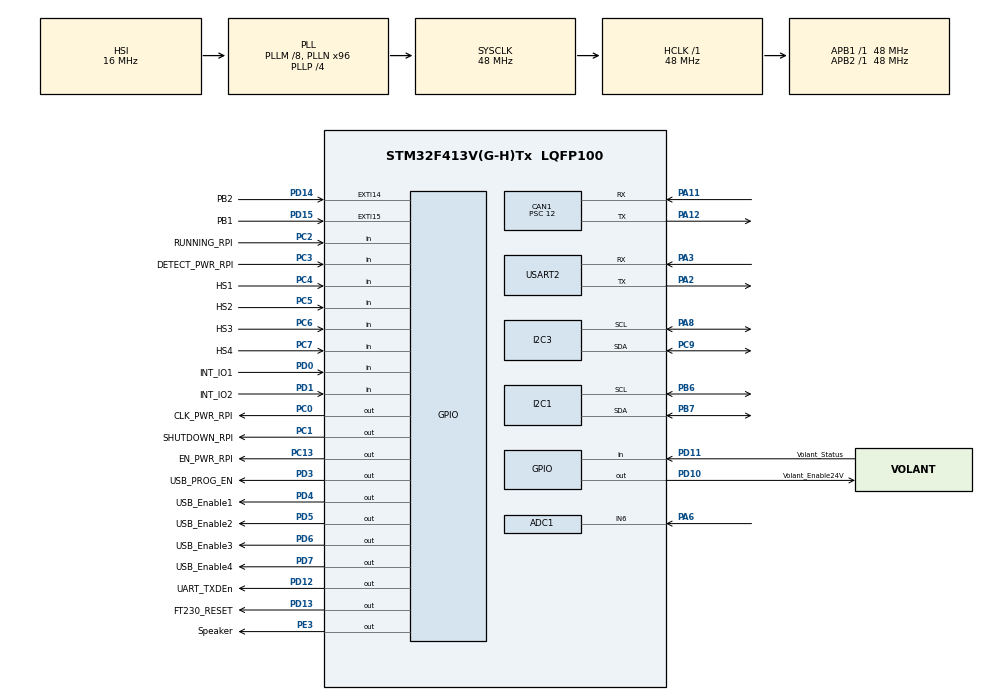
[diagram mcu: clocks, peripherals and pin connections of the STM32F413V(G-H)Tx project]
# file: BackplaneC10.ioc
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ADC1.Channel-0\#ChannelRegularConversion=ADC_CHANNEL_6
ADC1.NbrOfConversionFlag=1
ADC1.Rank-0\#ChannelRegularConversion=1
ADC1.SamplingTime-0\#ChannelRegularConversion=ADC_SAMPLETIME_3CYCLES
ADC1.master=1
CAN1.ABOM=ENABLE
CAN1.BS1=CAN_BS1_11TQ
CAN1.BS2=CAN_BS2_4TQ
CAN1.CalculateBaudRate=250000
CAN1.CalculateTimeBit=4000
CAN1.CalculateTimeQuantum=250.0
CAN1.Prescaler=12
CAN1.SJW=CAN_SJW_3TQ
Mcu.Family=STM32F4
Mcu.Name=STM32F413V(G-H)Tx
Mcu.Package=LQFP100
NVIC.ADC_IRQn=true\:0\:0\:false\:false\:true\:true\:true
NVIC.CAN1_RX0_IRQn=true\:0\:0\:false\:false\:true\:true\:true
NVIC.EXTI15_10_IRQn=true\:0\:0\:false\:false\:true\:true\:true
NVIC.PriorityGroup=NVIC_PRIORITYGROUP_4
NVIC.TIM3_IRQn=true\:0\:0\:false\:false\:true\:true\:true
NVIC.TIM4_IRQn=true\:0\:0\:false\:false\:true\:true\:true
NVIC.TIM5_IRQn=true\:0\:0\:false\:false\:true\:true\:true
PA0.Signal=USART2_CTS
PA1.Signal=USART2_RTS
PA11.Mode=CAN_Activate
PA11.Signal=CAN1_RX
PA12.Mode=CAN_Activate
PA12.Signal=CAN1_TX
PA2.Mode=Asynchronous
PA2.Signal=USART2_TX
PA3.Mode=Asynchronous
PA3.Signal=USART2_RX
PA6.Signal=ADCx_IN6
PA8.GPIO_Pu=GPIO_PULLUP
PA8.Mode=I2C
PA8.Signal=I2C3_SCL
PB3.Signal=SYS_JTDO-SWO
PB6.GPIO_Pu=GPIO_PULLUP
PB6.Mode=I2C
PB6.Signal=I2C1_SCL
PB7.GPIO_Pu=GPIO_PULLUP
PB7.Mode=I2C
PB7.Signal=I2C1_SDA
PC0.GPIO_Label=CLK_PWR_RPI
PC0.Signal=GPIO_Output
PC1.GPIO_Label=SHUTDOWN_RPI
PC1.Signal=GPIO_Output
PC13.GPIO_Label=EN_PWR_RPI
PC13.Signal=GPIO_Output
PC2.GPIO_Label=RUNNING_RPI
PC2.Signal=GPIO_Input
PC3.GPIO_Label=DETECT_PWR_RPI
PC3.Signal=GPIO_Input
PC4.GPIO_Label=HS1
PC4.Signal=GPIO_Input
PC5.GPIO_Label=HS2
PC5.Signal=GPIO_Input
PC6.GPIO_Label=HS3
PC6.Signal=GPIO_Input
PC7.GPIO_Label=HS4
PC7.Signal=GPIO_Input
PC9.GPIO_Pu=GPIO_PULLUP
PC9.Mode=I2C
PC9.Signal=I2C3_SDA
PD0.GPIO_Label=INT_IO1
PD0.Signal=GPIO_Input
PD1.GPIO_Label=INT_IO2
PD1.Signal=GPIO_Input
PD10.GPIO_Label=Volant_Enable24V
PD10.Signal=GPIO_Output
PD11.GPIO_Label=Volant_Status
PD11.Signal=GPIO_Input
PD12.GPIO_Label=UART_TXDEn
PD12.Signal=GPIO_Output
PD13.GPIO_Label=FT230_RESET
PD13.Signal=GPIO_Output
PD14.GPIO_Label=PB2
PD14.GPIO_ModeDefaultEXTI=GPIO_MODE_IT_FALLING
PD14.Signal=GPXTI14
PD15.GPIO_Label=PB1
PD15.GPIO_ModeDefaultEXTI=GPIO_MODE_IT_FALLING
PD15.Signal=GPXTI15
PD3.GPIO_Label=USB_PROG_EN
PD3.Signal=GPIO_Output
PD4.GPIO_Label=USB_Enable1
PD4.Signal=GPIO_Output
PD5.GPIO_Label=USB_Enable2
PD5.Signal=GPIO_Output
PD6.GPIO_Label=USB_Enable3
PD6.Signal=GPIO_Output
PD7.GPIO_Label=USB_Enable4
PD7.Signal=GPIO_Output
PE3.GPIO_Label=Speaker
PE3.Signal=GPIO_Output
ProjectManager.HeapSize=0x200
ProjectManager.StackSize=0x400
ProjectManager.TargetToolchain=STM32CubeIDE
RCC.AHBFreq_Value=48000000
RCC.APB1Freq_Value=48000000
RCC.APB1TimFreq_Value=48000000
RCC.APB2Freq_Value=48000000
RCC.APB2TimFreq_Value=48000000
RCC.CortexFreq_Value=48000000
RCC.HCLKFreq_Value=48000000
RCC.PLLM=8
RCC.PLLN=96
RCC.PLLP=RCC_PLLP_DIV4
RCC.SYSCLKFreq_VALUE=48000000
RCC.SYSCLKSource=RCC_SYSCLKSOURCE_PLLCLK
RCC.USBFreq_Value=96000000
RCC.VCOOutputFreq_Value=192000000
SH.ADCx_IN6.0=ADC1_IN6,IN6
TIM1.AutoReloadPreload=TIM_AUTORELOAD_PRELOAD_ENABLE
TIM1.Prescaler=47
TIM3.Period=10000
TIM3.Prescaler=480
TIM4.Period=50000
TIM4.Prescaler=480
TIM5.Period=20000
TIM5.Prescaler=480
USART2.VirtualMode=VM_ASYNC
VP_TIM1_VS_ClockSourceINT.Mode=Internal
VP_TIM3_VS_ClockSourceINT.Mode=Internal
VP_TIM4_VS_ClockSourceINT.Mode=Internal
VP_TIM5_VS_ClockSourceINT.Mode=Internal
board=custom

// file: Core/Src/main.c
/* USER CODE BEGIN Header */
/**
  ******************************************************************************
  * @file           : main.c
  * @brief          : Main program body
  ******************************************************************************
  * @attention
  *
  * <h2><center>&copy; Copyright (c) 2021 STMicroelectronics.
  * All rights reserved.</center></h2>
  *
  * This software component is licensed by ST under BSD 3-Clause license,
  * the "License"; You may not use this file except in compliance with the
  * License. You may obtain a copy of the License at:
  *                        opensource.org/licenses/BSD-3-Clause
  *
  ******************************************************************************
  */
/* USER CODE END Header */
#include "main.h"

/* USER CODE BEGIN Includes */

#include <string.h>
#include <stdlib.h>
#include <stdio.h>

#include "chinook_can_ids.h"

/* USER CODE END Includes */

/* USER CODE BEGIN PD */
// I2C GPIO addresses
#define GPIO0_ADDR 0x42
#define GPIO1_ADDR 0x40

#define GPIO_GP0 0x00
#define GPIO_GP1 0x01
#define GPIO_OLAT_GP0 0x02
#define GPIO_OLAT_GP1 0x03
#define GPIO_POL_GP0 0x04
#define GPIO_POL_GP1 0x05
#define GPIO_DIR_GP0 0x06
#define GPIO_DIR_GP1 0x07
#define GPIO_INT_GP0 0x08
#define GPIO_INT_GP1 0x09

#define GPIO_NORMAL 0x00
#define GPIO_INVERTED 0x01

#define GPIO_OUTPUT 0x00
#define GPIO_INPUT 0x01

// INA226
#define INA226_BATT_ADDR 0x96
#define INA226_VOLANT_ADDR 0x90
#define INA226_C9_ADDR 0x80
// TODO: Changer pour valeurs soudees
#define INA226_C10_1_ADDR 0x82
#define INA226_C10_2_ADDR 0x84
#define INA226_C10_3_ADDR 0x86

#define INA226_CONFIG_REG 0x00
#define INA226_SHUNT_VOLTAGE_REG 0x01
#define INA226_BUS_VOLTAGE_REG 0x02
#define INA226_POWER_REG 0x03
#define INA226_CURRENT_REG 0x04
#define INA226_CALIB_REG 0x05

// Board defines
#define BOARD_C10_1 3
#define BOARD_C10_2 2
#define BOARD_C10_3 1
#define BOARD_C9	0

// Voltage defines
#define VOLTAGE_3V3 3
#define VOLTAGE_5V  2
#define VOLTAGE_24V 0

// INA indices
#define VOLANT_INA 5
#define BATT_INA 4
#define BOARD_C10_1_INA BOARD_C10_1
#define BOARD_C10_2_INA BOARD_C10_2
#define BOARD_C10_3_INA BOARD_C10_3
#define BOARD_C9_INA BOARD_C9

// INA226 constants
#define INA226_RSHUNT 0.002f        // 2m ohm
#define INA226_CURRENT_LSB 0.001f  // 1mA/bit
#define INA226_SHUNT_VOLTAGE_LSB 0.0000025f // 2.5 uV
#define INA226_BUS_VOLTAGE_LSB 0.00125f     // 1.25 mV
const float INA226_POWER_LSB = 25.0f * INA226_CURRENT_LSB;

#define NUM_INA226 6
static uint32_t INA226_ADDRs[6] = { INA226_C9_ADDR, INA226_C10_3_ADDR, INA226_C10_2_ADDR, INA226_C10_1_ADDR, INA226_BATT_ADDR, INA226_VOLANT_ADDR };

// LED defines
enum LEDS
{
	LED_ERROR = 0,	// D7
	LED_WARN,		// D8
	LED_CAN,		// D9
	LED4,			// D10
	LED3,			// D11
	LED2,			// D12
	LED1,			// D13

	NUM_LEDS
};

// State machine enum
enum STATES
{
	STATE_INIT = 0,
	STATE_ACQUISITION,
	STATE_BOARD_CONTROL,
	STATE_CAN,

	STATE_ERROR = 0xFF
};

/* USER CODE END PD */

ADC_HandleTypeDef hadc1;

CAN_HandleTypeDef hcan1;

I2C_HandleTypeDef hi2c1;
I2C_HandleTypeDef hi2c3;

TIM_HandleTypeDef htim1;
TIM_HandleTypeDef htim3;
TIM_HandleTypeDef htim4;
TIM_HandleTypeDef htim5;

UART_HandleTypeDef huart2;

/* USER CODE BEGIN PV */

uint8_t timer_flag;
uint8_t b_acquisition_gpios_flag;
uint8_t b_flag_can_tx;

uint8_t pb1_pressed;
uint8_t pb2_pressed;

uint8_t can1_recv_flag;

CAN_TxHeaderTypeDef pTxHeader;
CAN_RxHeaderTypeDef pRxHeader;

uint8_t txData[8];
uint8_t rxData[8];

uint32_t txMailbox;

// I2C GPIO registers
uint8_t gpio0_gp0, gpio0_gp1; // LEDs + Pre-Prog + 24V status
uint8_t gpio1_gp0, gpio1_gp1; // Voltage enables
uint8_t gpio0_dir0, gpio0_dir1, gpio1_dir0, gpio1_dir1;
uint8_t gpio0_pol0, gpio0_pol1, gpio1_pol0, gpio1_pol1;

// I2C INA226 registers
uint16_t ina226_config = 0b0100000100100111;

// Current state machine state
uint32_t current_state = STATE_INIT;

uint8_t led1_value = 0;
uint8_t led2_value = 0;

// Board control values
uint8_t board_hs[4] = { 0, 0, 0, 0 }; // Connected board slots
float board_voltages[4] = { 0.0f, 0.0f, 0.0f, 0.0f };  // C9, C10_3, C10_2, C10_1
float board_currents[4] = { 0.0f, 0.0f, 0.0f, 0.0f };  // C9, C10_3, C10_2, C10_1
float board_powers[4] = { 0.0f, 0.0f, 0.0f, 0.0f };    // C9, C10_3, C10_2, C10_1
float batt_voltage = 0.0f;
float batt_current = 0.0f;
float batt_power = 0.0f;
float volant_voltage = 0.0f;
float volant_current = 0.0f;
float volant_power = 0.0f;

uint8_t volant_status = 1;  // 1 = no error,  0 = error

// Feedback values of GPIOs
uint8_t feedback_gpio0_gp0;
uint8_t feedback_gpio0_gp1;
uint8_t feedback_gpio1_gp0;
uint8_t feedback_gpio1_gp1;
uint8_t feedback_status_24V;

uint8_t can_error = 0;

uint8_t b_timer500ms_flag;
uint8_t b_timer100ms_flag;
uint8_t b_timer200ms_flag;

// TEMP TEMP
uint8_t pb1_update;
uint8_t pb2_update;
uint8_t pb1_value;
uint8_t pb2_value;

/* USER CODE END PV */

void SystemClock_Config(void);
static void MX_GPIO_Init(void);
static void MX_I2C1_Init(void);
static void MX_I2C3_Init(void);
static void MX_TIM3_Init(void);
static void MX_ADC1_Init(void);
static void MX_USART2_UART_Init(void);
static void MX_CAN1_Init(void);
static void MX_TIM4_Init(void);
static void MX_TIM1_Init(void);
static void MX_TIM5_Init(void);
/* USER CODE BEGIN PFP */

// State machine control
void ExecuteStateMachine();

uint32_t DoStateInit();
uint32_t DoStateBoardControl();
uint32_t DoStateAcquisition();
uint32_t DoStateCan();

void DoStateError();

HAL_StatusTypeDef GPIO_SendI2C(uint8_t addr, uint8_t reg, uint8_t data);
uint8_t GPIO_ReadI2C(uint8_t addr, uint8_t reg);

HAL_StatusTypeDef INA_SendI2C(uint8_t addr, uint8_t reg, uint16_t data);
uint16_t INA_ReadI2C(uint8_t addr, uint8_t reg);

// GPIOs

void EnableAllVoltages();

void InitGPIOs();

void DisableAllVoltages();
void EnableVoltage(uint8_t board, uint8_t voltage);
void DisableVoltage(uint8_t board, uint8_t voltage);

void EnableAllBoardVoltages(uint8_t board);
void DisableAllBoardVoltages(uint8_t board);

void EnableVolant24V();
void DisableVolant24V();

void SetLed(uint8_t led, uint8_t value);
void ToggleLed(uint8_t led);

void BeepSpeaker();

HAL_StatusTypeDef SendUART(uint8_t* buffer, size_t size);
void EnableFT230Tx();
void DisableFT230Tx();
void ResetFT230();

void InitAllINA226s();

float ReadShuntVoltageINA226(uint8_t ina226_id);
float ReadBusVoltageINA226(uint8_t ina226_id);
float ReadCurrentINA226(uint8_t ina226_id);
float ReadPowerINA226(uint8_t ina226_id);

// CAN

HAL_StatusTypeDef TransmitCAN(uint32_t id, uint8_t* buf, uint8_t size);

/* USER CODE END PFP */

/* USER CODE BEGIN 0 */

void delay_us(uint16_t delay16_us)
{
	htim1.Instance->CNT = 0;
	while (htim1.Instance->CNT < delay16_us);
}

void delay_ms(uint16_t delay16_ms)
{
	while(delay16_ms > 0)
	{
		htim1.Instance->CNT = 0;
		delay16_ms--;
		while (htim1.Instance->CNT < 1000);
	}
}

HAL_StatusTypeDef GPIO_SendI2C(uint8_t addr, uint8_t reg, uint8_t data)
{
  uint8_t buf[2];

  buf[0] = reg;
  buf[1] = data;

  return HAL_I2C_Master_Transmit(&hi2c1, addr, buf, sizeof(buf), HAL_MAX_DELAY);
}

uint8_t GPIO_ReadI2C(uint8_t addr, uint8_t reg)
{
	HAL_StatusTypeDef ret;

	uint8_t cmd[1];
	cmd[0] = reg;

	ret = HAL_I2C_Master_Transmit(&hi2c1, addr, cmd, sizeof(cmd), HAL_MAX_DELAY);
	if (ret != HAL_OK)
	{
		// TODO
	}

	uint8_t buf[1];
	ret = HAL_I2C_Master_Receive(&hi2c1, addr, buf, 1, HAL_MAX_DELAY);
	if (ret != HAL_OK)
	{
		// TODO
	}

	return buf[0];
}

HAL_StatusTypeDef INA_SendI2C(uint8_t addr, uint8_t reg, uint16_t data)
{
	uint8_t buf[3];

	buf[0] = reg;
	buf[1] = (data >> 8) & 0xFF;
	buf[2] = data & 0xFF;

	return HAL_I2C_Master_Transmit(&hi2c3, addr, buf, sizeof(buf), HAL_MAX_DELAY);
}

uint16_t INA_ReadI2C(uint8_t addr, uint8_t reg)
{
	HAL_StatusTypeDef ret;

	uint8_t cmd[1];
	cmd[0] = reg;

	ret = HAL_I2C_Master_Transmit(&hi2c3, addr, cmd, sizeof(cmd), HAL_MAX_DELAY);
	if (ret != HAL_OK)
	{
		// TODO
	}

	// Reading 16bits for INA
	uint8_t buf[2];
	ret = HAL_I2C_Master_Receive(&hi2c3, addr, buf, sizeof(buf), HAL_MAX_DELAY);
	if (ret != HAL_OK)
	{
		// TODO
	}

	// return buf[0];
	uint16_t result = (buf[0] << 8) | buf[1];
	return result;
}

void InitGPIOs()
{
  //
  // Default values for GPIO registers
  //

  // GPIO directions
  gpio0_dir0 = 0;
  gpio0_dir1 = 0b11110000;
  gpio1_dir0 = 0;
  gpio1_dir1 = 0;

  // GPIO *input* polarity
  gpio0_pol0 = 0;
  gpio0_pol1 = 0;
  gpio1_pol0 = 0;
  gpio1_pol1 = 0;

  // GPIO reset to 0
  gpio0_gp0 = gpio0_gp1 = 0;
  // Enable 3V3 and 5V have inverted enable logic (1 = disable for 5V and 3V3)
  gpio1_gp0 = gpio1_gp1 = 0b11001100;

  //
  // Send values to GPIO
  //

  //HAL_StatusTypeDef ret;
  //uint8_t buf[12];

  uint8_t error = 0;
  error |= GPIO_SendI2C(GPIO0_ADDR, GPIO_DIR_GP0, gpio0_dir0);
  delay_us(5);
  error |= GPIO_SendI2C(GPIO0_ADDR, GPIO_DIR_GP1, gpio0_dir1);
  delay_us(5);
  error |= GPIO_SendI2C(GPIO1_ADDR, GPIO_DIR_GP0, gpio1_dir0);
  delay_us(5);
  error |= GPIO_SendI2C(GPIO1_ADDR, GPIO_DIR_GP1, gpio1_dir1);
  delay_us(5);

  error |= GPIO_SendI2C(GPIO0_ADDR, GPIO_POL_GP0, gpio0_pol0);
  delay_us(5);
  error |= GPIO_SendI2C(GPIO0_ADDR, GPIO_POL_GP1, gpio0_pol1);
  delay_us(5);
  error |= GPIO_SendI2C(GPIO1_ADDR, GPIO_POL_GP0, gpio1_pol0);
  delay_us(5);
  error |= GPIO_SendI2C(GPIO1_ADDR, GPIO_POL_GP1, gpio1_pol1);
  delay_us(5);

  error |= GPIO_SendI2C(GPIO0_ADDR, GPIO_GP0, gpio0_gp0);
  delay_us(5);
  error |= GPIO_SendI2C(GPIO0_ADDR, GPIO_GP1, gpio0_gp1);
  delay_us(5);
  error |= GPIO_SendI2C(GPIO1_ADDR, GPIO_GP0, gpio1_gp0);
  delay_us(5);
  error |= GPIO_SendI2C(GPIO1_ADDR, GPIO_GP1, gpio1_gp1);
  delay_us(5);

  if (error)
  {
	  // TODO
  }

}

void DisableAllVoltages()
{
	gpio1_gp0 = 0b11001100;
	gpio1_gp1 = 0b11001100;
	GPIO_SendI2C(GPIO1_ADDR, GPIO_GP0, gpio1_gp0);
	delay_ms(10);
	GPIO_SendI2C(GPIO1_ADDR, GPIO_GP1, gpio1_gp1);
	delay_ms(10);

	// Disable Volant 24V
	DisableVolant24V();
	delay_ms(10);
}

// board = 1,2,3,4
//  0,1,2 = Board C10 1,2,3
//  3     = Board C9
void EnableVoltage(uint8_t board, uint8_t voltage)
{
	// Special case for board C9 - 24V,15V
	if (board == BOARD_C9 && voltage == VOLTAGE_24V)
	{
		gpio1_gp0 |= (1 << 1);
		GPIO_SendI2C(GPIO1_ADDR, GPIO_GP0, gpio1_gp0);
		return;
	}

	unsigned value = board * 4 + voltage;
	unsigned gp = value / (unsigned)8;
	if (gp)
	{
		// Inverted logic for 5V and 3V3
		if (voltage == VOLTAGE_5V || voltage == VOLTAGE_3V3)
			gpio1_gp1 &= ~(1 << (value - 8));
		else
			gpio1_gp1 |= (1 << (value - 8));
		GPIO_SendI2C(GPIO1_ADDR, GPIO_GP1, gpio1_gp1);
	}
	else
	{
		// Inverted logic for 5V and 3V3
		if (voltage == VOLTAGE_5V || voltage == VOLTAGE_3V3)
			gpio1_gp0 &= ~(1 << value);
		else
			gpio1_gp0 |= (1 << value);
		GPIO_SendI2C(GPIO1_ADDR, GPIO_GP0, gpio1_gp0);
	}
}

void DisableVoltage(uint8_t board, uint8_t voltage)
{
	// Special case for board C9 - 24V,15V
	if (board == BOARD_C9 && voltage == VOLTAGE_24V)
	{
		gpio1_gp0 &= ~(1 << 1);
		GPIO_SendI2C(GPIO1_ADDR, GPIO_GP0, gpio1_gp0);
		return;
	}

	unsigned value = board * 4 + voltage;
	unsigned gp = value / (unsigned)8;
	if (gp)
	{
		// Inverted logic for 5V and 3V3
		if (voltage == VOLTAGE_5V || voltage == VOLTAGE_3V3)
			gpio1_gp1 |= (1 << (value - 8));
		else
			gpio1_gp1 &= ~(1 << (value - 8));
		GPIO_SendI2C(GPIO1_ADDR, GPIO_GP1, gpio1_gp1);
	}
	else
	{
		// Inverted logic for 5V and 3V3
		if (voltage == VOLTAGE_5V || voltage == VOLTAGE_3V3)
			gpio1_gp0 |= (1 << value);
		else
			gpio1_gp0 &= ~(1 << value);
		GPIO_SendI2C(GPIO1_ADDR, GPIO_GP0, gpio1_gp0);
	}
}

void EnableAllBoardVoltages(uint8_t board)
{
	EnableVoltage(board, VOLTAGE_3V3);
	EnableVoltage(board, VOLTAGE_5V);
	EnableVoltage(board, VOLTAGE_24V);
}

void DisableAllBoardVoltages(uint8_t board)
{
	DisableVoltage(board, VOLTAGE_3V3);
	DisableVoltage(board, VOLTAGE_5V);
	DisableVoltage(board, VOLTAGE_24V);
}

void EnableVolant24V()
{
	HAL_GPIO_WritePin(Volant_Enable24V_GPIO_Port, Volant_Enable24V_Pin, 1);
}

void DisableVolant24V()
{
	HAL_GPIO_WritePin(Volant_Enable24V_GPIO_Port, Volant_Enable24V_Pin, 0);
}

void SetLed(uint8_t led, uint8_t value)
{
	if (led >= NUM_LEDS)
		return;

	if (value)
		gpio0_gp0 |= (1 << led);
	else
		gpio0_gp0 &= ~(1 << led);

	GPIO_SendI2C(GPIO0_ADDR, GPIO_GP0, gpio0_gp0);
}

void ToggleLed(uint8_t led)
{
	if (led >= NUM_LEDS)
		return;

	uint8_t value = (gpio0_gp0 & (1 << led)) >> led;
	SetLed(led, !value);
}

// CAN Rx Callback
/*
void HAL_CAN_RxFifo0MsgPendingCallback(CAN_HandleTypeDef* hcan)
{
	if (HAL_CAN_GetRxMessage(hcan, CAN_RX_FIFO0, &pRxHeader, rxData) != HAL_OK)
	{
		Error_Handler();
	}

	if (pRxHeader.StdId == 0xAA)
	{

	}
	else if (pRxHeader.StdId == 0xBB)
	{

	}
	// etc etc ..
}
*/

HAL_StatusTypeDef TransmitCAN(uint32_t id, uint8_t* buf, uint8_t size)
{
	// CAN_TxHeaderTypeDef msg;

	pTxHeader.StdId = id;
	pTxHeader.IDE = CAN_ID_STD;
	pTxHeader.RTR = CAN_RTR_DATA;
	pTxHeader.DLC = size; // Number of bytes to send
	pTxHeader.TransmitGlobalTime = DISABLE;

	uint32_t mb;
	HAL_StatusTypeDef ret = HAL_CAN_AddTxMessage(&hcan1, &pTxHeader, buf, &mb);
	if (ret != HAL_OK)
	{
		// SetLed(LED_CAN, 1);
		SetLed(LED_ERROR, 1);
		return ret;
	}

	// Update the CAN led
	//ToggleLed(LED_CAN);
	// SetLed(LED_CAN, 0);

	return ret;

	return 0;
}

void BeepSpeaker()
{
	HAL_GPIO_WritePin(Speaker_GPIO_Port, Speaker_Pin, 1);
	HAL_Delay(50);
	HAL_GPIO_WritePin(Speaker_GPIO_Port, Speaker_Pin, 0);
}

HAL_StatusTypeDef SendUART(uint8_t* buffer, size_t size)
{
	return HAL_UART_Transmit(&huart2, buffer, size, HAL_MAX_DELAY);
}

void EnableFT230Tx()
{
	HAL_GPIO_WritePin(UART_TXDEn_GPIO_Port, UART_TXDEn_Pin, 1);
}
void DisableFT230Tx()
{
	HAL_GPIO_WritePin(UART_TXDEn_GPIO_Port, UART_TXDEn_Pin, 0);
}
void ResetFT230()
{
	HAL_GPIO_WritePin(FT230_RESET_GPIO_Port, FT230_RESET_Pin, 1);
	HAL_Delay(2);
	HAL_GPIO_WritePin(FT230_RESET_GPIO_Port, FT230_RESET_Pin, 0);
}

void InitAllINA226s()
{
	// Configuration register
	// AVG mode set to 4 averages (everything else is default)
	uint16_t config_reg_value = 0x4327;
	for (int i = 0; i < NUM_INA226; ++i)
	{
		INA_SendI2C(INA226_ADDRs[i], INA226_CONFIG_REG, config_reg_value);
	}

	// Calibration register
	typedef union
	{
		float cal_f;
		uint32_t cal_i;
	} CalPunning;
	CalPunning cal_punning;

	cal_punning.cal_f = 0.00052f / INA226_CURRENT_LSB * INA226_RSHUNT;
	uint16_t cal_reg_value = (uint16_t)(cal_punning.cal_i & 0x0000FFFF);

	for (int i = 0; i < NUM_INA226; ++i)
	{
		INA_SendI2C(INA226_ADDRs[i], INA226_CALIB_REG, cal_reg_value);
	}
}

float ReadShuntVoltageINA226(uint8_t ina226_id)
{
	uint16_t shunt_voltage = INA_ReadI2C(INA226_ADDRs[ina226_id], INA226_BUS_VOLTAGE_REG);
	return ((float)shunt_voltage) * INA226_SHUNT_VOLTAGE_LSB;
}

float ReadBusVoltageINA226(uint8_t ina226_id)
{
	uint16_t bus_voltage = INA_ReadI2C(INA226_ADDRs[ina226_id], INA226_BUS_VOLTAGE_REG);
	return ((float)bus_voltage) * INA226_BUS_VOLTAGE_LSB;
}

float ReadCurrentINA226(uint8_t ina226_id)
{
	uint16_t current = INA_ReadI2C(INA226_ADDRs[ina226_id], INA226_CURRENT_REG);
	return ((float)current) * INA226_CURRENT_LSB;
}

float ReadPowerINA226(uint8_t ina226_id)
{
	uint16_t power = INA_ReadI2C(INA226_ADDRs[ina226_id], INA226_POWER_REG);
	return ((float)power) * INA226_POWER_LSB;
}

void ExecuteStateMachine()
{
	// Blink LED to signify alive and working
	if (b_timer500ms_flag)
	{
		b_timer500ms_flag = 0;

		timer_flag = 1;
	}
	if (b_timer200ms_flag)
	{
		b_timer200ms_flag = 0;

		b_acquisition_gpios_flag = 1;
	}
	if (b_timer100ms_flag)
	{
		b_timer100ms_flag = 0;

		b_flag_can_tx = 1;
	}

	if (timer_flag)
	{
		timer_flag = 0;

		ToggleLed(LED1);
	}

	switch (current_state)
	{
	case STATE_INIT:
		current_state = DoStateInit();
		break;

	case STATE_ACQUISITION:
		current_state = DoStateAcquisition();
		break;

	case STATE_BOARD_CONTROL:
		current_state = DoStateBoardControl();
		break;

	case STATE_CAN:
		current_state = DoStateCan();
		break;

	case STATE_ERROR:
		DoStateError();
		// In case we escape the error handler, re-initialize
		current_state = DoStateInit();
		break;

	default:
		DoStateInit();
		break;
	};
}

uint32_t DoStateInit()
{
	// Init global variables
	timer_flag = 0;
	b_acquisition_gpios_flag = 0;
	b_flag_can_tx = 0;

	pb1_pressed = 0;
	pb2_pressed = 0;

	can1_recv_flag = 0;

	volant_status = 1;
	can_error = 0;

	b_timer500ms_flag = 0;
	b_timer100ms_flag = 0;
	b_timer200ms_flag = 0;

	// Initialize GPIO values
	InitGPIOs();
	HAL_Delay(10);

	// DisableAllVoltages();
	HAL_Delay(10);

	InitAllINA226s();

	delay_ms(10);
	EnableAllVoltages();
	delay_ms(10);

	// Start by verifying values of GPIOs
	delay_ms(5);
	b_acquisition_gpios_flag = 1;

	return STATE_ACQUISITION;
}

uint32_t DoStateAcquisition()
{
	// Read HS signals and enable voltages according to slots used
	board_hs[3] = HAL_GPIO_ReadPin(HS1_GPIO_Port, HS1_Pin);  // Board C10_1
	board_hs[2] = HAL_GPIO_ReadPin(HS2_GPIO_Port, HS2_Pin);  // Board C10_2
	board_hs[1] = HAL_GPIO_ReadPin(HS3_GPIO_Port, HS3_Pin);  // Board C10_3
	board_hs[0] = HAL_GPIO_ReadPin(HS4_GPIO_Port, HS4_Pin);  // Board C9

	// Read INA226 voltage and current values
	for (int i = 0; i < 4; ++i)
	{
		board_voltages[i] = ReadBusVoltageINA226(i);
		board_currents[i] = ReadCurrentINA226(i);
		board_powers[i] = ReadPowerINA226(i);
	}

	batt_voltage = ReadBusVoltageINA226(BATT_INA);
	batt_current = ReadCurrentINA226(BATT_INA);
	batt_power = ReadPowerINA226(BATT_INA);

	volant_voltage = ReadBusVoltageINA226(VOLANT_INA);
	volant_current = ReadCurrentINA226(VOLANT_INA);
	volant_power = ReadPowerINA226(VOLANT_INA);

	volant_status = HAL_GPIO_ReadPin(Volant_Status_GPIO_Port, Volant_Status_Pin);

	// Verify values of GPIO expanders
	if (b_acquisition_gpios_flag) // Executed every 200ms
	{
		b_acquisition_gpios_flag = 0;

		/*
		feedback_gpio0_gp0 = GPIO_ReadI2C(GPIO0_ADDR, GPIO_GP0);
		delay_us(10);
		feedback_gpio0_gp1 = GPIO_ReadI2C(GPIO0_ADDR, GPIO_GP1);
		delay_us(10);
		feedback_gpio1_gp0 = GPIO_ReadI2C(GPIO1_ADDR, GPIO_GP0);
		delay_us(10);
		feedback_gpio1_gp1 = GPIO_ReadI2C(GPIO1_ADDR, GPIO_GP1);
		delay_us(10);

		if (feedback_gpio0_gp0 != gpio0_gp0)
		{
			GPIO_SendI2C(GPIO0_ADDR, GPIO_GP0, gpio0_gp0);
			delay_us(10);
		}

		if (feedback_gpio1_gp0 != gpio1_gp0)
		{
			GPIO_SendI2C(GPIO1_ADDR, GPIO_GP0, gpio1_gp0);
			delay_us(10);
		}
		if (feedback_gpio1_gp1 != gpio1_gp1)
		{
			GPIO_SendI2C(GPIO1_ADDR, GPIO_GP1, gpio1_gp1);
			delay_us(10);
		}

		// Verify 24V status
		feedback_status_24V = (feedback_gpio0_gp1 & 0xF0) >> 4;
		*/

		/*
		// Status at low = error on 24V
		if ((feedback_status_24V & 0x1) == 0)
		{
			DisableVoltage(BOARD_C9, VOLTAGE_24V);
			delay_us(10);
			EnableVoltage(BOARD_C9, VOLTAGE_24V);
		}
		if ((feedback_status_24V & 0x2) == 0)
		{
			DisableVoltage(BOARD_C10_3, VOLTAGE_24V);
			delay_us(10);
			EnableVoltage(BOARD_C10_3, VOLTAGE_24V);
		}
		if ((feedback_status_24V & 0x4) == 0)
		{
			DisableVoltage(BOARD_C10_2, VOLTAGE_24V);
			delay_us(10);
			EnableVoltage(BOARD_C10_2, VOLTAGE_24V);
		}
		if ((feedback_status_24V & 0x8) == 0)
		{
			DisableVoltage(BOARD_C10_1, VOLTAGE_24V);
			delay_us(10);
			EnableVoltage(BOARD_C10_1, VOLTAGE_24V);
		}
		*/

	}

	return STATE_BOARD_CONTROL;
}

uint32_t DoStateBoardControl()
{
	// Enable or disable voltages based on HS board slots values
	/*
	if (board_hs[0])
	{
		EnableVoltage(BOARD_C9, VOLTAGE_3V3);
		EnableVoltage(BOARD_C9, VOLTAGE_5V);
		EnableVoltage(BOARD_C9, VOLTAGE_24V);
	}
	*/

	// TODO: (Marc) Don't resend every time, check if value has changed
	// EnableVoltage(BOARD_C10_2, VOLTAGE_3V3);
	// EnableVoltage(BOARD_C10_2, VOLTAGE_5V);
	// EnableVoltage(BOARD_C10_2, VOLTAGE_24V);

	// Check that the values of GPIO expanders match expected values

	return STATE_CAN;
}

uint32_t DoStateCan()
{
	if (b_flag_can_tx)
	{
		b_flag_can_tx = 0;

		/* BLOC FACTICE
		static uint32_t dummy_data_mario = 0;
		++dummy_data_mario;
		TransmitCAN(BACKPLANE_DUMMY_TRAFFIC_MARIO, (uint8_t*)&dummy_data_mario, 4);
		delay_us(10);

		static uint32_t dummy_data_drive = 10;
		++dummy_data_drive;
		TransmitCAN(BACKPLANE_DUMMY_TRAFFIC_DRIVE, (uint8_t*)&dummy_data_drive, 4);
		delay_us(10);
		*/

		/*
		// Calculs + l'envoi vers le volant du pourcentage de la batterie
		float batt_percent = (batt_voltage - 10.5f) / (12.6f - 10.5f) * 100;
		if(batt_percent > 100.0f) {
			batt_percent = 100.0f;
		}

		if(batt_percent < 0.0f){
			batt_percent = 0.0f;
		}

		TransmitCAN(CAN_ID_BACKPLANE_BATT_PERCENT, (uint8_t*)&batt_percent, 4);
		delay_us(10);
		*/

		// Send all sensor values
		// HAL_StatusTypeDef can_success = HAL_OK;

		/*
		can_success &= TransmitCAN(BACKPLANE_TOTAL_VOLTAGE, (uint8_t*)(&batt_voltage), 4);
		can_success &= TransmitCAN(BACKPLANE_TOTAL_CURRENT, (uint8_t*)(&batt_current), 4);

		can_success &= TransmitCAN(BACKPLANE_VOLANT_VOLTAGE, (uint8_t*)(&volant_voltage), 4);
		can_success &= TransmitCAN(BACKPLANE_VOLANT_CURRENT, (uint8_t*)(&volant_current), 4);

		float board_voltages_1[2] = { board_voltages[0], board_voltages[1] };
		can_success &= TransmitCAN(BACKPLANE_BOARD_VOLTAGES_1, (uint8_t*)(&board_voltages_1), 8);
		float board_voltages_2[2] = { board_voltages[2], board_voltages[3] };
		can_success &= TransmitCAN(BACKPLANE_BOARD_VOLTAGES_2, (uint8_t*)(&board_voltages_2), 8);

		float board_currents_1[2] = { board_currents[0], board_currents[1] };
		can_success &= TransmitCAN(BACKPLANE_BOARD_CURRENTS_1, (uint8_t*)(&board_currents_1), 8);
		float board_currents_2[2] = { board_currents[2], board_currents[3] };
		can_success &= TransmitCAN(BACKPLANE_BOARD_CURRENTS_2, (uint8_t*)(&board_currents_2), 8);

		can_success &= TransmitCAN(BACKPLANE_BOARD_SLOTS_HS, board_hs, 4);

		can_success &= TransmitCAN(BACKPLANE_VOLANT_STATUS, &volant_status, 1);
		*/

		/*
		if (can_success != HAL_OK)
		{
			SetLed(LED_ERROR, 1);
			can_error = 1;
		}
		else
		{
			SetLed(LED_ERROR, 0);
			can_error = 0;
		}
		*/
	}

	return STATE_ACQUISITION;
}

void DoStateError()
{
	Error_Handler();
}

void HAL_CAN_RxFifo0MsgPendingCallback(CAN_HandleTypeDef* hcan)
{
	typedef union RxToInt_
	{
		struct
		{
			uint8_t bytes[4];
		};
		int32_t int_val;
	} RxToInt;
	static RxToInt rxToInt;

	if (hcan->Instance == CAN1)
	{
		// Indicate CAN working with CAN led
		//HAL_GPIO_TogglePin(LED_CANA_GPIO_Port, LED_CANA_Pin);
		ToggleLed(LED_CAN);

		if (HAL_CAN_GetRxMessage(hcan, CAN_RX_FIFO0, &pRxHeader, rxData) != HAL_OK)
		{
			Error_Handler();
		}

		// uint32_t can_data = rxData[0] | (rxData[1] << 8) | (rxData[2] << 16) | (rxData[3] << 24);

		/*
		if (pRxHeader.StdId == MARIO_PITCH_MANUAL_CMD) // 0x71
		{
			if (can_data == 0x300)
			{
				SetLed(LED3, 1);
			}
			else if (can_data == 0x200)
			{
				SetLed(LED4, 1);
			}
			else if (can_data == 0x100)
			{
				SetLed(LED3, 0);
				SetLed(LED4, 0);
			}
		}
		*/
		if (pRxHeader.StdId == MARIO_BUZZER_CMD) // 0x81
		{
			ToggleLed(LED2);
		}
		/*
		else if (pRxHeader.StdId == MARIO_PITCH_MODE_CMD)
		{
			uint8_t pitch_mode = rxData[0];
		}
		else if (pRxHeader.StdId == MARIO_MAST_MODE_CMD)
		{
			uint8_t mast_mode = rxData[0];
		}
		else
		{
			// Unknown CAN ID
		}
		*/
	}
	else
	{
		// Wrong CAN interface
	}
}

void EnableAllVoltages()
{
	EnableVoltage(BOARD_C10_1, VOLTAGE_3V3);
	delay_ms(5);
	EnableVoltage(BOARD_C10_1, VOLTAGE_5V);
	delay_ms(5);
	EnableVoltage(BOARD_C10_1, VOLTAGE_24V);
	delay_ms(5);

	EnableVoltage(BOARD_C10_2, VOLTAGE_3V3);
	delay_ms(5);
	EnableVoltage(BOARD_C10_2, VOLTAGE_5V);
	delay_ms(5);
	EnableVoltage(BOARD_C10_2, VOLTAGE_24V);
	delay_ms(5);

	EnableVoltage(BOARD_C10_3, VOLTAGE_3V3);
	delay_ms(5);
	EnableVoltage(BOARD_C10_3, VOLTAGE_5V);
	delay_ms(5);
	EnableVoltage(BOARD_C10_3, VOLTAGE_24V);
	delay_ms(5);

	EnableVoltage(BOARD_C9, VOLTAGE_3V3);
	delay_ms(5);
	EnableVoltage(BOARD_C9, VOLTAGE_5V);
	delay_ms(5);
	EnableVoltage(BOARD_C9, VOLTAGE_24V);
	delay_ms(5);

	EnableVolant24V();
	delay_ms(5);
}

/* USER CODE END 0 */

int main(void)
{

  /* MCU Configuration--------------------------------------------------------*/

  /* Reset of all peripherals, Initializes the Flash interface and the Systick. */
  HAL_Init();

  /* Configure the system clock */
  SystemClock_Config();

  /* Initialize all configured peripherals */
  MX_GPIO_Init();
  MX_I2C1_Init();
  MX_I2C3_Init();
  MX_TIM3_Init();
  MX_ADC1_Init();
  MX_USART2_UART_Init();
  MX_CAN1_Init();
  MX_TIM4_Init();
  MX_TIM1_Init();
  MX_TIM5_Init();
  /* USER CODE BEGIN 2 */

  HAL_TIM_Base_Start_IT(&htim4);

  /*EnableVoltage(BOARD_C10_1, VOLTAGE_3V3);
  EnableVoltage(BOARD_C10_2, VOLTAGE_3V3);
  EnableVoltage(BOARD_C10_3, VOLTAGE_3V3);

  EnableVoltage(BOARD_C10_1, VOLTAGE_5V);
  EnableVoltage(BOARD_C10_2, VOLTAGE_5V);
  EnableVoltage(BOARD_C10_3, VOLTAGE_5V);*/
/*
  EnableVoltage(BOARD_C9, VOLTAGE_3V3);
  EnableVoltage(BOARD_C9, VOLTAGE_5V);
  EnableVoltage(BOARD_C9, VOLTAGE_24V);

  EnableVoltage(BOARD_C10_2, VOLTAGE_3V3);
  EnableVoltage(BOARD_C10_2, VOLTAGE_5V);
  EnableVoltage(BOARD_C10_2, VOLTAGE_24V);
*/
  // EnableVoltage(BOARD_C10_1, VOLTAGE_15V);
  // EnableVoltage(BOARD_C10_2, VOLTAGE_15V);
  // EnableVoltage(BOARD_C10_3, VOLTAGE_15V);

  // EnableVoltage(BOARD_C10_1, VOLTAGE_24V);
  // EnableVoltage(BOARD_C10_2, VOLTAGE_24V);
  // EnableVoltage(BOARD_C10_3, VOLTAGE_24V);

  /*
  EnableVoltage(BOARD_C10_1, VOLTAGE_3V3);
  EnableVoltage(BOARD_C10_1, VOLTAGE_5V);
  EnableVoltage(BOARD_C10_1, VOLTAGE_24V);

  EnableVoltage(BOARD_C10_2, VOLTAGE_3V3);
  EnableVoltage(BOARD_C10_2, VOLTAGE_5V);

  EnableVoltage(BOARD_C10_3, VOLTAGE_3V3);
  EnableVoltage(BOARD_C10_3, VOLTAGE_5V);

  // Enable 24V volant
  EnableVolant24V();
	*/
  /* USER CODE END 2 */

  /* Infinite loop */
  /* USER CODE BEGIN WHILE */

  DoStateInit();
  delay_ms(5);

  EnableVoltage(BOARD_C10_1, VOLTAGE_3V3);
  delay_ms(5);
  EnableVoltage(BOARD_C10_1, VOLTAGE_5V);
  delay_ms(5);
  EnableVoltage(BOARD_C10_1, VOLTAGE_24V);
  delay_ms(5);

  EnableVoltage(BOARD_C10_2, VOLTAGE_3V3);
  delay_ms(5);
  EnableVoltage(BOARD_C10_2, VOLTAGE_5V);
  delay_ms(5);
  EnableVoltage(BOARD_C10_2, VOLTAGE_24V);
  delay_ms(5);

  EnableVoltage(BOARD_C10_3, VOLTAGE_3V3);
  delay_ms(5);
  EnableVoltage(BOARD_C10_3, VOLTAGE_5V);
  delay_ms(5);
  EnableVoltage(BOARD_C10_3, VOLTAGE_24V);
  delay_ms(5);

  EnableVoltage(BOARD_C9, VOLTAGE_3V3);
  delay_ms(5);
  EnableVoltage(BOARD_C9, VOLTAGE_5V);
  delay_ms(5);
  EnableVoltage(BOARD_C9, VOLTAGE_24V);
  delay_ms(5);

  EnableVolant24V();
  delay_ms(5);

  current_state = STATE_INIT;
  while (1)
  {
	  ExecuteStateMachine();

	  // TODO: (Marc) Should be replaced by a timer with better resolution
	  HAL_Delay(5);
  }

  uint8_t buf1[4] = {0};
  uint8_t buf2[4] = {0};
  uint32_t buf1_val = 0x200;
  uint32_t buf2_val = 0x1;
  memcpy(buf1, &buf1_val, 4);
  memcpy(buf2, &buf2_val, 4);

  uint8_t buf[4];
  uint32_t dir_stop = MOTOR_DIRECTION_STOP;
  uint32_t dir_left = MOTOR_DIRECTION_LEFT;
  uint32_t dir_right = MOTOR_DIRECTION_RIGHT;

  while (1)
  {
	  HAL_Delay(10);

	  // Alive blink led
	  if (b_timer500ms_flag == 1)
	  {
		  b_timer500ms_flag = 0;

		  ToggleLed(LED1);

		  // Making sure ?
		  // EnableAllVoltages();
	  }

	  /*
	  uint8_t buf[4];

	  if(GPIO_PIN_SET == HAL_GPIO_ReadPin(PB2_GPIO_Port, PB2_Pin)) // PD_14 -- PB2
	  {
		//HAL_GPIO_TogglePin(LED4_GPIO_Port, LED4_Pin);
		//HAL_GPIO_WritePin(LED4_GPIO_Port, LED4_Pin, GPIO_PIN_SET);
		  if (pb2_value == 1)
		  {
			  pb2_value = 0;
			  // HAL_GPIO_WritePin(LED4_GPIO_Port, LED4_Pin, GPIO_PIN_RESET);
			  SetLed(LED2, 0);

			  memcpy(buf, &dir_stop, 4);
			  TransmitCAN(0x71, buf, 4);
		  }
	  }
	  if (GPIO_PIN_SET == HAL_GPIO_ReadPin(PB1_GPIO_Port, PB1_Pin)) // PD_15 -- PB1
	  {
		//HAL_GPIO_TogglePin(LED3_GPIO_Port, LED3_Pin);
		//HAL_GPIO_WritePin(LED3_GPIO_Port, LED3_Pin, GPIO_PIN_SET);
		  if (pb1_value == 1)
		  {
			  pb1_value = 0;
			  // HAL_GPIO_WritePin(LED3_GPIO_Port, LED3_Pin, GPIO_PIN_RESET);
			  SetLed(LED3, 0);

			  memcpy(buf, &dir_stop, 4);
			  TransmitCAN(0x71, buf, 4);
		  }
	  }

	  if (pb1_update)
	  {
		  memcpy(buf, &dir_left, 4);
		  TransmitCAN(0x71, buf, 4);
		  pb1_update = 0;
	  }
	  if (pb2_update)
	  {
		  memcpy(buf, &dir_right, 4);
		  TransmitCAN(0x71, buf, 4);
		  pb2_update = 0;
	  }
	  */
  }

  while (1)
  {
	  // Alive blink led
	  if (b_timer500ms_flag == 1)
	  {
		  b_timer500ms_flag = 0;

		  ToggleLed(LED1);
	  }

	  // PD_14 -- PB2
	  if (GPIO_PIN_SET == HAL_GPIO_ReadPin(PB2_GPIO_Port, PB2_Pin))
	  {
		  //HAL_GPIO_WritePin(LED1_GPIO_Port, LED1_Pin, GPIO_PIN_RESET);
		  if (led1_value == 1)
		  {
			  led1_value = 0;
			  SetLed(LED1, 0);
		  }
	  }
	  // PD_15 -- PB1
	  if (GPIO_PIN_SET == HAL_GPIO_ReadPin(PB1_GPIO_Port, PB1_Pin))
	  {
		  //HAL_GPIO_WritePin(LED2_GPIO_Port, LED2_Pin, GPIO_PIN_RESET);
		  if (led2_value == 1)
		  {
			  led2_value = 0;
			  SetLed(LED2, 0);
		  }
	  }

	  if (led1_value == 1)
	  {
		  //TransmitCAN(0xAA, buf1, sizeof(buf1));
	  }
	  else if (led2_value == 1)
	  {
		  //TransmitCAN(0xAA, buf2, sizeof(buf2));
	  }
	  else
	  {
		  static uint8_t buf0[4] = {0};
		  //TransmitCAN(0xAA, buf0, sizeof(buf0));
	  }

	  HAL_Delay(10);
  }

  //HAL_StatusTypeDef ret;

  while (1)
  {
	  if (timer_flag)
	  {
		  timer_flag = 0;

		  // Blink led warning as living-led
		  ToggleLed(LED_WARN);

		  // Send CAN frame
		  /*
		  static uint8_t x = 0;
		  uint8_t data[4] = { 0,1,2,x++ };
		  HAL_StatusTypeDef can_success = TransmitCAN(0xAA, data, 4);
		  if (can_success != HAL_OK)
		  {
			  SetLed(LED_ERROR, 1);
		  }
		  else
		  {
			  SetLed(LED_ERROR, 0);
		  }
		  */

		  // Send UART Message
		  uint8_t msg[] = "Hello World!";
		  HAL_StatusTypeDef uart_success = SendUART(msg, sizeof(msg));
		  if (uart_success != HAL_OK)
		  {
			  // TODO
			  // ErrorHandler();
		  }
	  }

	  // Check which boards are connected
	  // uint8_t hs1 = HAL_GPIO_ReadPin(HS1_GPIO_Port, HS1_Pin);  // Board C10_1
	  // uint8_t hs2 = HAL_GPIO_ReadPin(HS2_GPIO_Port, HS2_Pin);  // Board C10_2
	  // uint8_t hs3 = HAL_GPIO_ReadPin(HS3_GPIO_Port, HS3_Pin);  // Board C10_3
	  // uint8_t hs4 = HAL_GPIO_ReadPin(HS4_GPIO_Port, HS4_Pin);  // Board C9
	  // Update 4 leds based on connection status
	  //SetLed(LED1, hs1);
	  //SetLed(LED2, hs2);
	  //SetLed(LED3, hs3);
	  //SetLed(LED4, hs4);

	  // Get Volant BTS428L2 status (low on error)
	  // uint8_t volant_status = HAL_GPIO_ReadPin(Volant_Status_GPIO_Port, Volant_Status_Pin);
	  /*
	  if (volant_status == 0)
	  {
		  // Disable volant voltage
		  DisableVolant24V();
		  // TODO: Error management
		  // SetLed(LED_ERROR, 1);
	  }
	  */

	  // Get Battery IMON value
	  /*
	  HAL_ADC_Start(&hadc1);
	  HAL_ADC_PollForConversion(&hadc1, HAL_MAX_DELAY);
	  uint16_t raw_imon = HAL_ADC_GetValue(&hadc1);
	  */

	  // Check messages received on CANA bus
	  if (can1_recv_flag)
	  {
		  can1_recv_flag = 0;

		  uint32_t id = pRxHeader.StdId;
	  }

	  // Execute main loop every 10ms
	  HAL_Delay(10);

    /* USER CODE END WHILE */

  }
}

void SystemClock_Config(void)
{
  RCC_OscInitTypeDef RCC_OscInitStruct = {0};
  RCC_ClkInitTypeDef RCC_ClkInitStruct = {0};

  /** Configure the main internal regulator output voltage
  */
  __HAL_RCC_PWR_CLK_ENABLE();
  __HAL_PWR_VOLTAGESCALING_CONFIG(PWR_REGULATOR_VOLTAGE_SCALE1);
  /** Initializes the RCC Oscillators according to the specified parameters
  * in the RCC_OscInitTypeDef structure.
  */
  RCC_OscInitStruct.OscillatorType = RCC_OSCILLATORTYPE_HSI;
  RCC_OscInitStruct.HSIState = RCC_HSI_ON;
  RCC_OscInitStruct.HSICalibrationValue = RCC_HSICALIBRATION_DEFAULT;
  RCC_OscInitStruct.PLL.PLLState = RCC_PLL_ON;
  RCC_OscInitStruct.PLL.PLLSource = RCC_PLLSOURCE_HSI;
  RCC_OscInitStruct.PLL.PLLM = 8;
  RCC_OscInitStruct.PLL.PLLN = 96;
  RCC_OscInitStruct.PLL.PLLP = RCC_PLLP_DIV4;
  RCC_OscInitStruct.PLL.PLLQ = 2;
  RCC_OscInitStruct.PLL.PLLR = 2;
  if (HAL_RCC_OscConfig(&RCC_OscInitStruct) != HAL_OK)
  {
    Error_Handler();
  }
  /** Initializes the CPU, AHB and APB buses clocks
  */
  RCC_ClkInitStruct.ClockType = RCC_CLOCKTYPE_HCLK|RCC_CLOCKTYPE_SYSCLK
                              |RCC_CLOCKTYPE_PCLK1|RCC_CLOCKTYPE_PCLK2;
  RCC_ClkInitStruct.SYSCLKSource = RCC_SYSCLKSOURCE_PLLCLK;
  RCC_ClkInitStruct.AHBCLKDivider = RCC_SYSCLK_DIV1;
  RCC_ClkInitStruct.APB1CLKDivider = RCC_HCLK_DIV1;
  RCC_ClkInitStruct.APB2CLKDivider = RCC_HCLK_DIV1;

  if (HAL_RCC_ClockConfig(&RCC_ClkInitStruct, FLASH_LATENCY_1) != HAL_OK)
  {
    Error_Handler();
  }
}

static void MX_ADC1_Init(void)
{

  ADC_ChannelConfTypeDef sConfig = {0};

  /** Configure the global features of the ADC (Clock, Resolution, Data Alignment and number of conversion)
  */
  hadc1.Instance = ADC1;
  hadc1.Init.ClockPrescaler = ADC_CLOCK_SYNC_PCLK_DIV2;
  hadc1.Init.Resolution = ADC_RESOLUTION_12B;
  hadc1.Init.ScanConvMode = DISABLE;
  hadc1.Init.ContinuousConvMode = DISABLE;
  hadc1.Init.DiscontinuousConvMode = DISABLE;
  hadc1.Init.ExternalTrigConvEdge = ADC_EXTERNALTRIGCONVEDGE_NONE;
  hadc1.Init.ExternalTrigConv = ADC_SOFTWARE_START;
  hadc1.Init.DataAlign = ADC_DATAALIGN_RIGHT;
  hadc1.Init.NbrOfConversion = 1;
  hadc1.Init.DMAContinuousRequests = DISABLE;
  hadc1.Init.EOCSelection = ADC_EOC_SINGLE_CONV;
  if (HAL_ADC_Init(&hadc1) != HAL_OK)
  {
    Error_Handler();
  }
  /** Configure for the selected ADC regular channel its corresponding rank in the sequencer and its sample time.
  */
  sConfig.Channel = ADC_CHANNEL_6;
  sConfig.Rank = 1;
  sConfig.SamplingTime = ADC_SAMPLETIME_3CYCLES;
  if (HAL_ADC_ConfigChannel(&hadc1, &sConfig) != HAL_OK)
  {
    Error_Handler();
  }
  /* USER CODE BEGIN ADC1_Init 2 */
  // HAL_ADC_Start_IT(&hadc1);

  /* USER CODE END ADC1_Init 2 */

}

static void MX_CAN1_Init(void)
{

  hcan1.Instance = CAN1;
  hcan1.Init.Prescaler = 12;
  hcan1.Init.Mode = CAN_MODE_NORMAL;
  hcan1.Init.SyncJumpWidth = CAN_SJW_3TQ;
  hcan1.Init.TimeSeg1 = CAN_BS1_11TQ;
  hcan1.Init.TimeSeg2 = CAN_BS2_4TQ;
  hcan1.Init.TimeTriggeredMode = DISABLE;
  hcan1.Init.AutoBusOff = ENABLE;
  hcan1.Init.AutoWakeUp = DISABLE;
  hcan1.Init.AutoRetransmission = DISABLE;
  hcan1.Init.ReceiveFifoLocked = DISABLE;
  hcan1.Init.TransmitFifoPriority = DISABLE;
  if (HAL_CAN_Init(&hcan1) != HAL_OK)
  {
    Error_Handler();
  }
  /* USER CODE BEGIN CAN1_Init 2 */

/*
  CAN_FilterTypeDef filter_all;
  	// All common bits go into the ID register
  filter_all.FilterIdHigh = 0x0000;
  filter_all.FilterIdLow = 0x0000;

  	// Which bits to compare for filter
  filter_all.FilterMaskIdHigh = 0x0000;
  filter_all.FilterMaskIdLow = 0x0000;

  filter_all.FilterFIFOAssignment = CAN_FILTER_FIFO0;
  filter_all.FilterBank = 2; // Which filter to use from the assigned ones
  filter_all.FilterMode = CAN_FILTERMODE_IDMASK;
  filter_all.FilterScale = CAN_FILTERSCALE_32BIT;
  filter_all.FilterActivation = CAN_FILTER_ENABLE;
  filter_all.SlaveStartFilterBank = 20; // How many filters to assign to CAN1
  	if (HAL_CAN_ConfigFilter(&hcan1, &filter_all) != HAL_OK)
  	{
  	  Error_Handler();
  	}
  	*/

    CAN_FilterTypeDef sf_fifo0;
	// All common bits go into the ID register
	sf_fifo0.FilterIdHigh = BACKPLANE_FIFO0_RX_FILTER_ID_HIGH;
	sf_fifo0.FilterIdLow = BACKPLANE_FIFO0_RX_FILTER_ID_LOW;

	// Which bits to compare for filter
	sf_fifo0.FilterMaskIdHigh = BACKPLANE_FIFO0_RX_FILTER_MASK_HIGH;
	sf_fifo0.FilterMaskIdLow = BACKPLANE_FIFO0_RX_FILTER_MASK_LOW;

	sf_fifo0.FilterFIFOAssignment = CAN_FILTER_FIFO0;
	sf_fifo0.FilterBank = 0; // Which filter to use from the assigned ones
	sf_fifo0.FilterMode = CAN_FILTERMODE_IDMASK;
	sf_fifo0.FilterScale = CAN_FILTERSCALE_32BIT;
	sf_fifo0.FilterActivation = CAN_FILTER_ENABLE;
	sf_fifo0.SlaveStartFilterBank = 14; // How many filters to assign to CAN1
	if (HAL_CAN_ConfigFilter(&hcan1, &sf_fifo0) != HAL_OK)
	{
	  Error_Handler();
	}

/*
	CAN_FilterTypeDef sf_fifo1;
		// All common bits go into the ID register
	sf_fifo1.FilterIdHigh = 0xFFFF;
	sf_fifo1.FilterIdLow = 0xFFFF;

		// Which bits to compare for filter
	sf_fifo1.FilterMaskIdHigh = 0xFFFF;
	sf_fifo1.FilterMaskIdLow = 0xFFFF;

	sf_fifo1.FilterFIFOAssignment = CAN_FILTER_FIFO0;
	sf_fifo1.FilterBank = 1; // Which filter to use from the assigned ones
	sf_fifo1.FilterMode = CAN_FILTERMODE_IDMASK;
	sf_fifo1.FilterScale = CAN_FILTERSCALE_32BIT;
	sf_fifo1.FilterActivation = CAN_FILTER_ENABLE;
	sf_fifo1.SlaveStartFilterBank = 14; // How many filters to assign to CAN1
		if (HAL_CAN_ConfigFilter(&hcan1, &sf_fifo1) != HAL_OK)
		{
		  Error_Handler();
		}
*/

  	if (HAL_CAN_Start(&hcan1) != HAL_OK)
	{
		Error_Handler();
	}
	if (HAL_CAN_ActivateNotification(&hcan1, CAN_IT_RX_FIFO0_MSG_PENDING) != HAL_OK)
	{
		Error_Handler();
	}

  /* USER CODE END CAN1_Init 2 */

}

static void MX_I2C1_Init(void)
{

  hi2c1.Instance = I2C1;
  hi2c1.Init.ClockSpeed = 100000;
  hi2c1.Init.DutyCycle = I2C_DUTYCYCLE_2;
  hi2c1.Init.OwnAddress1 = 0;
  hi2c1.Init.AddressingMode = I2C_ADDRESSINGMODE_7BIT;
  hi2c1.Init.DualAddressMode = I2C_DUALADDRESS_DISABLE;
  hi2c1.Init.OwnAddress2 = 0;
  hi2c1.Init.GeneralCallMode = I2C_GENERALCALL_DISABLE;
  hi2c1.Init.NoStretchMode = I2C_NOSTRETCH_DISABLE;
  if (HAL_I2C_Init(&hi2c1) != HAL_OK)
  {
    Error_Handler();
  }

}

static void MX_I2C3_Init(void)
{

  hi2c3.Instance = I2C3;
  hi2c3.Init.ClockSpeed = 100000;
  hi2c3.Init.DutyCycle = I2C_DUTYCYCLE_2;
  hi2c3.Init.OwnAddress1 = 0;
  hi2c3.Init.AddressingMode = I2C_ADDRESSINGMODE_7BIT;
  hi2c3.Init.DualAddressMode = I2C_DUALADDRESS_DISABLE;
  hi2c3.Init.OwnAddress2 = 0;
  hi2c3.Init.GeneralCallMode = I2C_GENERALCALL_DISABLE;
  hi2c3.Init.NoStretchMode = I2C_NOSTRETCH_DISABLE;
  if (HAL_I2C_Init(&hi2c3) != HAL_OK)
  {
    Error_Handler();
  }

}

static void MX_TIM1_Init(void)
{

  TIM_ClockConfigTypeDef sClockSourceConfig = {0};
  TIM_MasterConfigTypeDef sMasterConfig = {0};

  htim1.Instance = TIM1;
  htim1.Init.Prescaler = 47;
  htim1.Init.CounterMode = TIM_COUNTERMODE_UP;
  htim1.Init.Period = 65535;
  htim1.Init.ClockDivision = TIM_CLOCKDIVISION_DIV1;
  htim1.Init.RepetitionCounter = 0;
  htim1.Init.AutoReloadPreload = TIM_AUTORELOAD_PRELOAD_ENABLE;
  if (HAL_TIM_Base_Init(&htim1) != HAL_OK)
  {
    Error_Handler();
  }
  sClockSourceConfig.ClockSource = TIM_CLOCKSOURCE_INTERNAL;
  if (HAL_TIM_ConfigClockSource(&htim1, &sClockSourceConfig) != HAL_OK)
  {
    Error_Handler();
  }
  sMasterConfig.MasterOutputTrigger = TIM_TRGO_RESET;
  sMasterConfig.MasterSlaveMode = TIM_MASTERSLAVEMODE_DISABLE;
  if (HAL_TIMEx_MasterConfigSynchronization(&htim1, &sMasterConfig) != HAL_OK)
  {
    Error_Handler();
  }
  /* USER CODE BEGIN TIM1_Init 2 */

  // Start the timer
  HAL_TIM_Base_Start(&htim1);

  /* USER CODE END TIM1_Init 2 */

}

static void MX_TIM3_Init(void)
{

  TIM_ClockConfigTypeDef sClockSourceConfig = {0};
  TIM_MasterConfigTypeDef sMasterConfig = {0};

  htim3.Instance = TIM3;
  htim3.Init.Prescaler = 480;
  htim3.Init.CounterMode = TIM_COUNTERMODE_UP;
  htim3.Init.Period = 10000;
  htim3.Init.ClockDivision = TIM_CLOCKDIVISION_DIV1;
  htim3.Init.AutoReloadPreload = TIM_AUTORELOAD_PRELOAD_DISABLE;
  if (HAL_TIM_Base_Init(&htim3) != HAL_OK)
  {
    Error_Handler();
  }
  sClockSourceConfig.ClockSource = TIM_CLOCKSOURCE_INTERNAL;
  if (HAL_TIM_ConfigClockSource(&htim3, &sClockSourceConfig) != HAL_OK)
  {
    Error_Handler();
  }
  sMasterConfig.MasterOutputTrigger = TIM_TRGO_RESET;
  sMasterConfig.MasterSlaveMode = TIM_MASTERSLAVEMODE_DISABLE;
  if (HAL_TIMEx_MasterConfigSynchronization(&htim3, &sMasterConfig) != HAL_OK)
  {
    Error_Handler();
  }
  /* USER CODE BEGIN TIM3_Init 2 */
  HAL_TIM_Base_Start_IT(&htim3);
  /* USER CODE END TIM3_Init 2 */

}

static void MX_TIM4_Init(void)
{

  TIM_ClockConfigTypeDef sClockSourceConfig = {0};
  TIM_MasterConfigTypeDef sMasterConfig = {0};

  htim4.Instance = TIM4;
  htim4.Init.Prescaler = 480;
  htim4.Init.CounterMode = TIM_COUNTERMODE_UP;
  htim4.Init.Period = 50000;
  htim4.Init.ClockDivision = TIM_CLOCKDIVISION_DIV1;
  htim4.Init.AutoReloadPreload = TIM_AUTORELOAD_PRELOAD_DISABLE;
  if (HAL_TIM_Base_Init(&htim4) != HAL_OK)
  {
    Error_Handler();
  }
  sClockSourceConfig.ClockSource = TIM_CLOCKSOURCE_INTERNAL;
  if (HAL_TIM_ConfigClockSource(&htim4, &sClockSourceConfig) != HAL_OK)
  {
    Error_Handler();
  }
  sMasterConfig.MasterOutputTrigger = TIM_TRGO_RESET;
  sMasterConfig.MasterSlaveMode = TIM_MASTERSLAVEMODE_DISABLE;
  if (HAL_TIMEx_MasterConfigSynchronization(&htim4, &sMasterConfig) != HAL_OK)
  {
    Error_Handler();
  }

}

static void MX_TIM5_Init(void)
{

  TIM_ClockConfigTypeDef sClockSourceConfig = {0};
  TIM_MasterConfigTypeDef sMasterConfig = {0};

  htim5.Instance = TIM5;
  htim5.Init.Prescaler = 480;
  htim5.Init.CounterMode = TIM_COUNTERMODE_UP;
  htim5.Init.Period = 20000;
  htim5.Init.ClockDivision = TIM_CLOCKDIVISION_DIV1;
  htim5.Init.AutoReloadPreload = TIM_AUTORELOAD_PRELOAD_DISABLE;
  if (HAL_TIM_Base_Init(&htim5) != HAL_OK)
  {
    Error_Handler();
  }
  sClockSourceConfig.ClockSource = TIM_CLOCKSOURCE_INTERNAL;
  if (HAL_TIM_ConfigClockSource(&htim5, &sClockSourceConfig) != HAL_OK)
  {
    Error_Handler();
  }
  sMasterConfig.MasterOutputTrigger = TIM_TRGO_RESET;
  sMasterConfig.MasterSlaveMode = TIM_MASTERSLAVEMODE_DISABLE;
  if (HAL_TIMEx_MasterConfigSynchronization(&htim5, &sMasterConfig) != HAL_OK)
  {
    Error_Handler();
  }

}

static void MX_USART2_UART_Init(void)
{

  huart2.Instance = USART2;
  huart2.Init.BaudRate = 115200;
  huart2.Init.WordLength = UART_WORDLENGTH_8B;
  huart2.Init.StopBits = UART_STOPBITS_1;
  huart2.Init.Parity = UART_PARITY_NONE;
  huart2.Init.Mode = UART_MODE_TX_RX;
  huart2.Init.HwFlowCtl = UART_HWCONTROL_NONE;
  huart2.Init.OverSampling = UART_OVERSAMPLING_16;
  if (HAL_UART_Init(&huart2) != HAL_OK)
  {
    Error_Handler();
  }

}

static void MX_GPIO_Init(void)
{
  GPIO_InitTypeDef GPIO_InitStruct = {0};

  /* GPIO Ports Clock Enable */
  __HAL_RCC_GPIOE_CLK_ENABLE();
  __HAL_RCC_GPIOC_CLK_ENABLE();
  __HAL_RCC_GPIOA_CLK_ENABLE();
  __HAL_RCC_GPIOD_CLK_ENABLE();
  __HAL_RCC_GPIOB_CLK_ENABLE();

  /*Configure GPIO pin Output Level */
  HAL_GPIO_WritePin(Speaker_GPIO_Port, Speaker_Pin, GPIO_PIN_RESET);

  /*Configure GPIO pin Output Level */
  HAL_GPIO_WritePin(GPIOC, EN_PWR_RPI_Pin|CLK_PWR_RPI_Pin|SHUTDOWN_RPI_Pin, GPIO_PIN_RESET);

  /*Configure GPIO pin Output Level */
  HAL_GPIO_WritePin(GPIOD, Volant_Enable24V_Pin|UART_TXDEn_Pin|FT230_RESET_Pin|USB_PROG_EN_Pin
                          |USB_Enable1_Pin|USB_Enable2_Pin|USB_Enable3_Pin|USB_Enable4_Pin, GPIO_PIN_RESET);

  /*Configure GPIO pin : Speaker_Pin */
  GPIO_InitStruct.Pin = Speaker_Pin;
  GPIO_InitStruct.Mode = GPIO_MODE_OUTPUT_PP;
  GPIO_InitStruct.Pull = GPIO_NOPULL;
  GPIO_InitStruct.Speed = GPIO_SPEED_FREQ_LOW;
  HAL_GPIO_Init(Speaker_GPIO_Port, &GPIO_InitStruct);

  /*Configure GPIO pins : EN_PWR_RPI_Pin CLK_PWR_RPI_Pin SHUTDOWN_RPI_Pin */
  GPIO_InitStruct.Pin = EN_PWR_RPI_Pin|CLK_PWR_RPI_Pin|SHUTDOWN_RPI_Pin;
  GPIO_InitStruct.Mode = GPIO_MODE_OUTPUT_PP;
  GPIO_InitStruct.Pull = GPIO_NOPULL;
  GPIO_InitStruct.Speed = GPIO_SPEED_FREQ_LOW;
  HAL_GPIO_Init(GPIOC, &GPIO_InitStruct);

  /*Configure GPIO pins : RUNNING_RPI_Pin DETECT_PWR_RPI_Pin HS1_Pin HS2_Pin
                           HS3_Pin HS4_Pin */
  GPIO_InitStruct.Pin = RUNNING_RPI_Pin|DETECT_PWR_RPI_Pin|HS1_Pin|HS2_Pin
                          |HS3_Pin|HS4_Pin;
  GPIO_InitStruct.Mode = GPIO_MODE_INPUT;
  GPIO_InitStruct.Pull = GPIO_NOPULL;
  HAL_GPIO_Init(GPIOC, &GPIO_InitStruct);

  /*Configure GPIO pins : Volant_Enable24V_Pin UART_TXDEn_Pin FT230_RESET_Pin USB_PROG_EN_Pin
                           USB_Enable1_Pin USB_Enable2_Pin USB_Enable3_Pin USB_Enable4_Pin */
  GPIO_InitStruct.Pin = Volant_Enable24V_Pin|UART_TXDEn_Pin|FT230_RESET_Pin|USB_PROG_EN_Pin
                          |USB_Enable1_Pin|USB_Enable2_Pin|USB_Enable3_Pin|USB_Enable4_Pin;
  GPIO_InitStruct.Mode = GPIO_MODE_OUTPUT_PP;
  GPIO_InitStruct.Pull = GPIO_NOPULL;
  GPIO_InitStruct.Speed = GPIO_SPEED_FREQ_LOW;
  HAL_GPIO_Init(GPIOD, &GPIO_InitStruct);

  /*Configure GPIO pins : Volant_Status_Pin INT_IO1_Pin INT_IO2_Pin */
  GPIO_InitStruct.Pin = Volant_Status_Pin|INT_IO1_Pin|INT_IO2_Pin;
  GPIO_InitStruct.Mode = GPIO_MODE_INPUT;
  GPIO_InitStruct.Pull = GPIO_NOPULL;
  HAL_GPIO_Init(GPIOD, &GPIO_InitStruct);

  /*Configure GPIO pins : PB2_Pin PB1_Pin */
  GPIO_InitStruct.Pin = PB2_Pin|PB1_Pin;
  GPIO_InitStruct.Mode = GPIO_MODE_IT_FALLING;
  GPIO_InitStruct.Pull = GPIO_NOPULL;
  HAL_GPIO_Init(GPIOD, &GPIO_InitStruct);

  /* EXTI interrupt init*/
  HAL_NVIC_SetPriority(EXTI15_10_IRQn, 0, 0);
  HAL_NVIC_EnableIRQ(EXTI15_10_IRQn);

}

/* USER CODE BEGIN 4 */

// EXTI Line External Interrupt ISR Handler CallBack
void HAL_GPIO_EXTI_Callback(uint16_t GPIO_Pin)
{
    if(GPIO_Pin == GPIO_PIN_14) // PD_14 -- PB2
    {
    	// LED4
    	//gpio0_gp0 = (gpio0_gp0 ^ (1 << 5));
    	//GPIO_SendI2C(GPIO0_ADDR, GPIO_GP0, gpio0_gp0);
    	//ToggleLed(LED1);
    	//HAL_GPIO_WritePin(LED1_GPIO_Port, LED1_Pin, GPIO_PIN_SET);
    	SetLed(LED2, 1);
    	led1_value = 1;

    	pb2_value = 1;
    	pb2_update = 1;
    }
    else if (GPIO_Pin == GPIO_PIN_15) // PD_15 -- PB1
    {
    	// LED3
    	//gpio0_gp0 = (gpio0_gp0 ^ (1 << 6));
    	//GPIO_SendI2C(GPIO0_ADDR, GPIO_GP0, gpio0_gp0);
    	//ToggleLed(LED2);
    	//HAL_GPIO_WritePin(LED2_GPIO_Port, LED2_Pin, GPIO_PIN_SET);
    	SetLed(LED3, 1);
    	led2_value = 1;

    	pb1_value = 1;
    	pb1_update = 1;
    }
}

/* USER CODE END 4 */

void Error_Handler(void)
{
}
